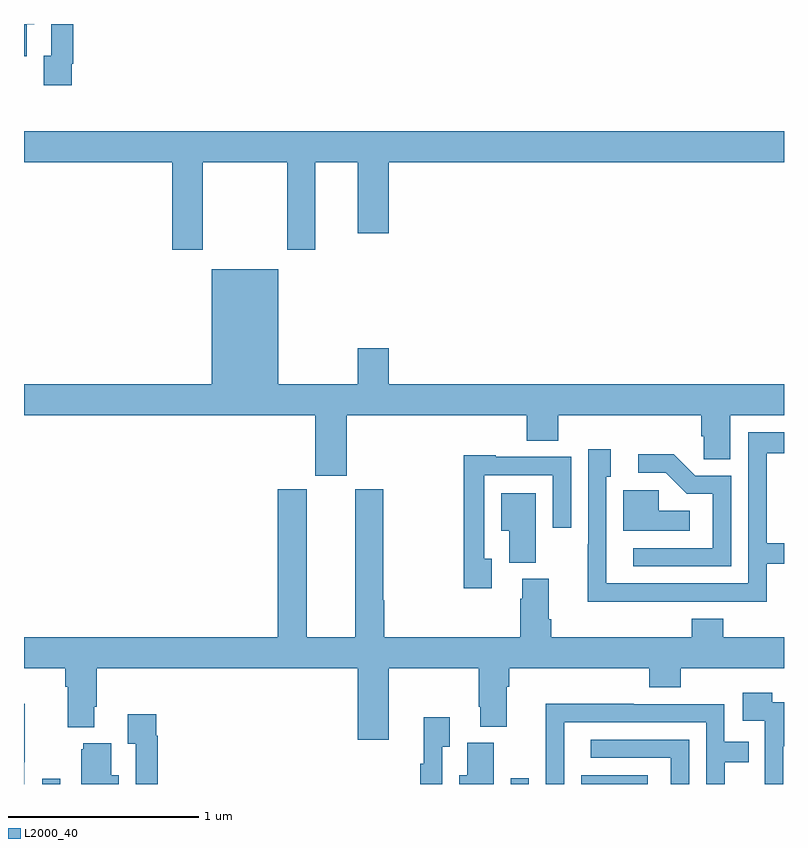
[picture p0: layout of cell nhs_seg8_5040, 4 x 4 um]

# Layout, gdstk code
import gdstk
lib = gdstk.Library(unit=1e-6, precision=1e-09)
def R(c, l, rs):  # rectangles x0, y0, x1, y1
    for r in rs: c.add(gdstk.rectangle(r[:2], r[2:], *l))
def P(c, l, *ps):  # polygons
    for p in ps: c.add(gdstk.Polygon(p, *l))
L2000_40 = (2000, 40)

nhs_seg8_5040 = lib.new_cell('nhs_seg8_5040')
R(nhs_seg8_5040, L2000_40, [(415.095,1107.9,415.191,1107.928), (417.561,1107.9,417.657,1107.931), (417.932,1107.9,418.282,1107.946)])
P(nhs_seg8_5040, L2000_40, [(415.015,1111.898),(415.054,1111.898),(415.054,1111.9),(415,1111.9),(415,1111.73),(415.015,1111.73)],
  [(415.252,1111.69),(415.259,1111.69),(415.259,1111.9),(415.143,1111.9),(415.143,1111.734),(415.103,1111.734),(415.103,1111.578),(415.252,1111.578)],
  [(415,1111.172),(415.781,1111.172),(415.781,1110.711),(415.941,1110.711),(415.941,1111.172),(416.386,1111.172),(416.386,1110.711),(416.533,1110.711),(416.533,1111.172),(416.756,1111.172),(416.756,1110.798),(416.92,1110.798),(416.92,1111.172),(419,1111.172),(419,1111.336),(415,1111.336)],
  [(416.698,1109.84),(417.647,1109.84),(417.647,1109.707),(417.812,1109.707),(417.812,1109.84),(418.565,1109.84),(418.565,1109.731),(418.578,1109.731),(418.578,1109.608),(418.717,1109.608),(418.717,1109.84),(419,1109.84),(419,1110.004),(416.92,1110.004),(416.92,1110.193),(416.756,1110.193),(416.756,1110.004),(416.338,1110.004),(416.338,1110.61),(415.988,1110.61),(415.988,1110.004),(415,1110.004),(415,1109.84),(416.534,1109.84),(416.534,1109.523),(416.698,1109.523)],
  [(418.43,1108.86),(418.908,1108.86),(418.908,1109.058),(419,1109.058),(419,1109.167),(418.909,1109.167),(418.909,1109.64),(419,1109.64),(419,1109.751),(418.812,1109.751),(418.812,1108.956),(418.065,1108.956),(418.065,1109.517),(418.087,1109.517),(418.087,1109.662),(417.969,1109.662),(417.969,1109.162),(417.968,1109.162),(417.968,1108.859),(418.43,1108.859)],
  [(418.722,1109.523),(418.533,1109.523),(418.42,1109.636),(418.233,1109.636),(418.233,1109.538),(418.377,1109.538),(418.488,1109.427),(418.626,1109.427),(418.626,1109.142),(418.206,1109.142),(418.206,1109.046),(418.722,1109.046)],
  [(417.463,1109.085),(417.423,1109.085),(417.423,1109.526),(417.783,1109.526),(417.783,1109.25),(417.879,1109.25),(417.879,1109.622),(417.483,1109.622),(417.483,1109.629),(417.315,1109.629),(417.315,1108.929),(417.463,1108.929)],
  [(416.92,1108.508),(417.394,1108.508),(417.394,1108.306),(417.401,1108.306),(417.401,1108.201),(417.541,1108.201),(417.541,1108.412),(417.554,1108.412),(417.554,1108.508),(418.292,1108.508),(418.292,1108.409),(418.457,1108.409),(418.457,1108.508),(419,1108.508),(419,1108.672),(418.679,1108.672),(418.679,1108.771),(418.514,1108.771),(418.514,1108.672),(417.776,1108.672),(417.776,1108.768),(417.763,1108.768),(417.763,1108.98),(417.623,1108.98),(417.623,1108.874),(417.611,1108.874),(417.611,1108.672),(416.897,1108.672),(416.897,1108.868),(416.892,1108.868),(416.892,1109.451),(416.744,1109.451),(416.744,1108.672),(416.488,1108.672),(416.488,1109.451),(416.336,1109.451),(416.336,1108.672),(415,1108.672),(415,1108.508),(415.217,1108.508),(415.217,1108.412),(415.229,1108.412),(415.229,1108.199),(415.369,1108.199),(415.369,1108.306),(415.382,1108.306),(415.382,1108.508),(416.756,1108.508),(416.756,1108.134),(416.92,1108.134)],
  [(418.504,1109.338),(418.341,1109.338),(418.341,1109.445),(418.154,1109.445),(418.154,1109.234),(418.504,1109.234)],
  [(417.694,1109.431),(417.512,1109.431),(417.512,1109.234),(417.554,1109.234),(417.554,1109.065),(417.694,1109.065)],
  [(418.996,1108.099),(419,1108.099),(419,1108.329),(418.938,1108.329),(418.938,1108.381),(418.782,1108.381),(418.782,1108.233),(418.899,1108.233),(418.899,1107.929),(418.898,1107.929),(418.898,1107.9),(418.996,1107.9)],
  [(415.002,1108.015),(415.005,1108.015),(415.005,1108.322),(415,1108.322),(415,1107.9),(415.002,1107.9)],
  [(417.843,1108.224),(418.59,1108.224),(418.59,1107.9),(418.687,1107.9),(418.687,1108.014),(418.814,1108.014),(418.814,1108.122),(418.686,1108.122),(418.686,1108.32),(418.208,1108.32),(418.208,1108.322),(417.746,1108.322),(417.746,1108.018),(417.747,1108.018),(417.747,1107.9),(417.843,1107.9)],
  [(415.703,1108.154),(415.696,1108.154),(415.696,1108.267),(415.547,1108.267),(415.547,1108.111),(415.587,1108.111),(415.587,1107.9),(415.703,1107.9)],
  [(417.201,1108.096),(417.241,1108.096),(417.241,1108.252),(417.104,1108.252),(417.104,1108.007),(417.085,1108.007),(417.085,1107.9),(417.201,1107.9)],
  [(418.5,1108.134),(417.984,1108.134),(417.984,1108.038),(418.404,1108.038),(418.404,1107.9),(418.5,1107.9)],
  [(417.472,1108.116),(417.332,1108.116),(417.332,1107.946),(417.29,1107.946),(417.29,1107.9),(417.472,1107.9)],
  [(415.498,1107.946),(415.459,1107.946),(415.459,1108.114),(415.313,1108.114),(415.313,1108.083),(415.301,1108.083),(415.301,1107.9),(415.498,1107.9)])

lib.write_gds('nhs_seg8_5040.gds')
